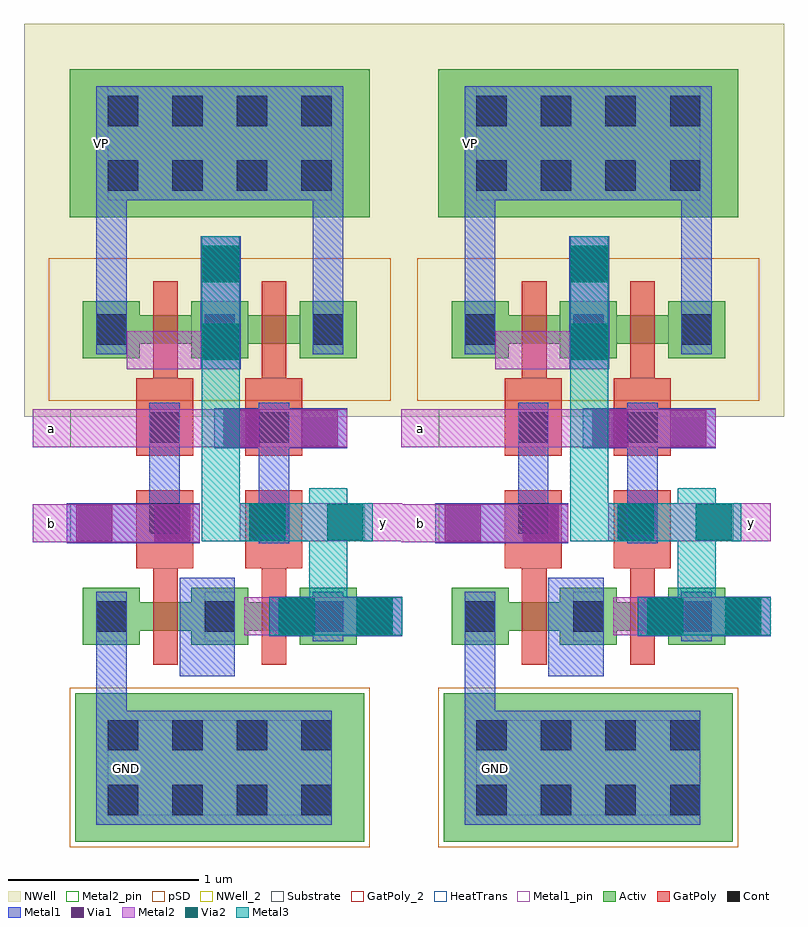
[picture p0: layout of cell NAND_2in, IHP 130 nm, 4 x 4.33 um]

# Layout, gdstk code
from math import pi, radians
import gdstk
lib = gdstk.Library(unit=1e-6, precision=1e-09)
def R(c, l, rs):  # rectangles x0, y0, x1, y1
    for r in rs: c.add(gdstk.rectangle(r[:2], r[2:], *l))
def A(c, l, x, y, w, h, nx, ny, dx, dy):  # array of equal rectangles
    R(c, l, [(x+i*dx, y+j*dy, x+i*dx+w, y+j*dy+h) for i in range(nx) for j in range(ny)])
Activ = (1, 0)
GatPoly = (5, 0)
GatPoly_2 = (5, 2)
Cont = (6, 0)
Metal1 = (8, 0)
Metal1_pin = (8, 2)
Metal2 = (10, 0)
Metal2_pin = (10, 2)
pSD = (14, 0)
Via1 = (19, 0)
Via2 = (29, 0)
Metal3 = (30, 0)
NWell = (31, 0)
NWell_2 = (31, 2)
Substrate = (40, 0)
HeatTrans = (51, 0)

via_4 = lib.new_cell('Via$4')
R(via_4, Metal2, [(-0.1,-0.35,0.1,0.35)])
R(via_4, Via2, [(-0.095,-0.3,0.095,-0.11), (-0.095,0.11,0.095,0.3)])
R(via_4, Metal3, [(-0.1,-0.35,0.1,0.35)])

via_2 = lib.new_cell('Via$2')
R(via_2, Metal1, [(-0.105,-0.35,0.105,0.35)])
R(via_2, Metal2, [(-0.1,-0.35,0.1,0.35)])
R(via_2, Via1, [(-0.095,-0.3,0.095,-0.11), (-0.095,0.11,0.095,0.3)])

via_7 = lib.new_cell('Via$7')
R(via_7, Metal2, [(-0.35,-0.1,0.35,0.1)])
R(via_7, Via2, [(-0.3,-0.095,-0.11,0.095), (0.11,-0.095,0.3,0.095)])
R(via_7, Metal3, [(-0.35,-0.1,0.35,0.1)])

via = lib.new_cell('Via')
R(via, GatPoly, [(-0.15,-0.15,0.15,0.15)])
R(via, Cont, [(-0.08,-0.08,0.08,0.08)])
R(via, Metal1, [(-0.13,-0.08,0.13,0.08)])

pmos = lib.new_cell('pmos')
R(pmos, Activ, [(0,0,0.3,0.3), (0.57,0,0.87,0.3), (0,0.075,0.87,0.225)])
R(pmos, GatPoly, [(0.37,-0.105,0.5,0.405), (0.37,-0.105,0.5,0.405)])
R(pmos, Cont, [(0.07,0.07,0.23,0.23), (0.64,0.07,0.8,0.23)])
R(pmos, Metal1, [(0.07,0.02,0.23,0.28), (0.07,0.02,0.23,0.28), (0.64,0.02,0.8,0.28), (0.64,0.02,0.8,0.28)])
R(pmos, pSD, [(-0.18,-0.225,1.05,0.525)])
R(pmos, NWell, [(-0.31,-0.31,1.18,0.61)])
R(pmos, Substrate, [(0.57,0,0.87,0.3)])
R(pmos, HeatTrans, [(0.37,-0.105,0.5,0.405)])
pmos.add(gdstk.Label('pmos', (0.435,0.15), layer=63, texttype=0))
pmos.add(gdstk.Label('pmos', (0.435,0.15), layer=51, texttype=0))

ptap1 = lib.new_cell('ptap1')
R(ptap1, Activ, [(0,0,1.52,0.78)])
A(ptap1, Cont, 0.17, 0.14, 0.16, 0.16, 4, 2, 0.34, 0.34)
R(ptap1, Metal1, [(0.17,0.09,1.35,0.69), (0.17,0.14,1.35,0.64)])
R(ptap1, Metal1_pin, [(0.17,0.14,1.35,0.64)])
R(ptap1, pSD, [(-0.03,-0.03,1.55,0.81)])
R(ptap1, Substrate, [(0,0,1.52,0.78)])
ptap1.add(gdstk.Label('sub!', (0.76,0.01), layer=63, texttype=0))
ptap1.add(gdstk.Label('sub!', (0.76,0.01), layer=40, texttype=0))

ntap1 = lib.new_cell('ntap1')
R(ntap1, Activ, [(0,0,1.58,0.78)])
A(ntap1, Cont, 0.2, 0.14, 0.16, 0.16, 4, 2, 0.34, 0.34)
R(ntap1, Metal1, [(0.2,0.09,1.38,0.69)])
R(ntap1, Metal1_pin, [(0.2,0.09,1.38,0.69), (0.2,0.14,1.38,0.64)])
R(ntap1, NWell, [(-0.24,-0.24,1.82,1.02), (0,0,1.58,0.78)])
R(ntap1, NWell_2, [(0,0,1.58,0.78)])
ntap1.add(gdstk.Label('well', (0.79,0.01), layer=63, texttype=0))
ntap1.add(gdstk.Label('well', (0.79,0.01), layer=31, texttype=0))

nmos = lib.new_cell('nmos')
R(nmos, Activ, [(0,0,0.3,0.3), (0.57,0,0.87,0.3), (0,0.075,0.87,0.225)])
R(nmos, GatPoly, [(0.37,-0.105,0.5,0.405)])
R(nmos, GatPoly_2, [(0.37,-0.105,0.5,0.405)])
R(nmos, Cont, [(0.07,0.07,0.23,0.23), (0.64,0.07,0.8,0.23)])
R(nmos, Metal1, [(0.07,0.02,0.23,0.28), (0.64,0.02,0.8,0.28)])
R(nmos, Metal1_pin, [(0.07,0.02,0.23,0.28), (0.64,0.02,0.8,0.28)])
R(nmos, HeatTrans, [(0.37,-0.105,0.5,0.405)])
nmos.add(gdstk.Label('nmos', (0.435,0.15), layer=63, texttype=0))
nmos.add(gdstk.Label('nmos', (0.435,0.15), layer=51, texttype=0))

nand_2in = lib.new_cell('NAND_2in')
R(nand_2in, GatPoly, [(6.865,8.395,7.165,8.505), (7.44,8.395,7.74,8.505), (8.805,8.395,9.105,8.505), (9.38,8.395,9.68,8.505), (6.865,9.285,7.165,9.395), (7.44,9.285,7.74,9.395), (8.805,9.285,9.105,9.395), (9.38,9.285,9.68,9.395)])
R(nand_2in, Metal1, [(7.095,7.825,7.385,8.345), (9.035,7.825,9.325,8.345)])
R(nand_2in, Metal1_pin, [(6.715,7.24,6.915,7.44), (8.655,7.24,8.855,7.44), (6.715,10.53,6.915,10.73), (8.655,10.53,8.855,10.73)])
R(nand_2in, Metal2_pin, [(6.32,8.53,6.52,8.73), (8.26,8.53,8.46,8.73), (8.065,8.535,8.265,8.735), (10.005,8.535,10.205,8.735), (6.32,9.03,6.52,9.23), (8.26,9.03,8.46,9.23)])
R(nand_2in, Metal3, [(7.21,8.535,7.41,8.645), (9.15,8.535,9.35,8.645)])
nand_2in.add(gdstk.FlexPath([(6.735,7.645),(6.735,7.045)], 0.16, ends="flush", simple_path=True, layer=8, datatype=0))  # Metal1
nand_2in.add(gdstk.FlexPath([(7.875,10.33),(7.875,10.93)], 0.16, ends="flush", simple_path=True, layer=8, datatype=0))  # Metal1
nand_2in.add(gdstk.FlexPath([(6.735,10.33),(6.735,10.93)], 0.16, ends="flush", simple_path=True, layer=8, datatype=0))  # Metal1
nand_2in.add(gdstk.FlexPath([(7.915,8.14),(7.915,8.14)], 0.16, ends="flush", simple_path=True, layer=8, datatype=0))  # Metal1
nand_2in.add(gdstk.FlexPath([(7.015,8.87),(7.015,8.87)], 0.16, ends="flush", simple_path=True, layer=8, datatype=0))  # Metal1
nand_2in.add(gdstk.FlexPath([(7.59,8.655),(7.59,9.005)], 0.16, ends="flush", simple_path=True, layer=8, datatype=0))  # Metal1
nand_2in.add(gdstk.FlexPath([(7.015,9.005),(7.015,8.785)], 0.16, ends="flush", simple_path=True, layer=8, datatype=0))  # Metal1
nand_2in.add(gdstk.FlexPath([(6.735,9.65),(6.735,10.33)], 0.16, ends="flush", simple_path=True, layer=8, datatype=0))  # Metal1
nand_2in.add(gdstk.FlexPath([(7.875,9.65),(7.875,10.33)], 0.16, ends="flush", simple_path=True, layer=8, datatype=0))  # Metal1
nand_2in.add(gdstk.FlexPath([(6.735,8.01),(6.735,7.645)], 0.16, ends="flush", simple_path=True, layer=8, datatype=0))  # Metal1
nand_2in.add(gdstk.FlexPath([(8.675,7.645),(8.675,7.045)], 0.16, ends="flush", simple_path=True, layer=8, datatype=0))  # Metal1
nand_2in.add(gdstk.FlexPath([(9.815,10.33),(9.815,10.93)], 0.16, ends="flush", simple_path=True, layer=8, datatype=0))  # Metal1
nand_2in.add(gdstk.FlexPath([(8.675,10.33),(8.675,10.93)], 0.16, ends="flush", simple_path=True, layer=8, datatype=0))  # Metal1
nand_2in.add(gdstk.FlexPath([(9.855,8.14),(9.855,8.14)], 0.16, ends="flush", simple_path=True, layer=8, datatype=0))  # Metal1
nand_2in.add(gdstk.FlexPath([(8.955,8.87),(8.955,8.87)], 0.16, ends="flush", simple_path=True, layer=8, datatype=0))  # Metal1
nand_2in.add(gdstk.FlexPath([(9.53,8.655),(9.53,9.005)], 0.16, ends="flush", simple_path=True, layer=8, datatype=0))  # Metal1
nand_2in.add(gdstk.FlexPath([(8.955,9.005),(8.955,8.785)], 0.16, ends="flush", simple_path=True, layer=8, datatype=0))  # Metal1
nand_2in.add(gdstk.FlexPath([(8.675,9.65),(8.675,10.33)], 0.16, ends="flush", simple_path=True, layer=8, datatype=0))  # Metal1
nand_2in.add(gdstk.FlexPath([(9.815,9.65),(9.815,10.33)], 0.16, ends="flush", simple_path=True, layer=8, datatype=0))  # Metal1
nand_2in.add(gdstk.FlexPath([(8.675,8.01),(8.675,7.645)], 0.16, ends="flush", simple_path=True, layer=8, datatype=0))  # Metal1
nand_2in.add(gdstk.FlexPath([(7.02,9.395),(7.02,9.395)], 0.16, ends="flush", simple_path=True, layer=5, datatype=0))  # GatPoly
nand_2in.add(gdstk.FlexPath([(8.96,9.395),(8.96,9.395)], 0.16, ends="flush", simple_path=True, layer=5, datatype=0))  # GatPoly
nand_2in.add(gdstk.FlexPath([(7.975,9.13),(6.32,9.13)], 0.2, ends="flush", simple_path=True, layer=10, datatype=0))  # Metal2
nand_2in.add(gdstk.FlexPath([(7.2,8.63),(6.32,8.63)], 0.2, ends="flush", simple_path=True, layer=10, datatype=0))  # Metal2
nand_2in.add(gdstk.FlexPath([(8.265,8.14),(7.435,8.14)], 0.2, ends="flush", simple_path=True, layer=10, datatype=0))  # Metal2
nand_2in.add(gdstk.FlexPath([(7.915,8.14),(7.915,8.14)], 0.2, ends="flush", simple_path=True, layer=10, datatype=0))  # Metal2
nand_2in.add(gdstk.FlexPath([(7.41,8.635),(8.265,8.635)], 0.2, ends="flush", simple_path=True, layer=10, datatype=0))  # Metal2
nand_2in.add(gdstk.FlexPath([(7.305,9.54),(6.815,9.54)], 0.2, ends="flush", simple_path=True, layer=10, datatype=0))  # Metal2
nand_2in.add(gdstk.FlexPath([(9.915,9.13),(8.26,9.13)], 0.2, ends="flush", simple_path=True, layer=10, datatype=0))  # Metal2
nand_2in.add(gdstk.FlexPath([(9.14,8.63),(8.26,8.63)], 0.2, ends="flush", simple_path=True, layer=10, datatype=0))  # Metal2
nand_2in.add(gdstk.FlexPath([(10.205,8.14),(9.375,8.14)], 0.2, ends="flush", simple_path=True, layer=10, datatype=0))  # Metal2
nand_2in.add(gdstk.FlexPath([(9.855,8.14),(9.855,8.14)], 0.2, ends="flush", simple_path=True, layer=10, datatype=0))  # Metal2
nand_2in.add(gdstk.FlexPath([(9.35,8.635),(10.205,8.635)], 0.2, ends="flush", simple_path=True, layer=10, datatype=0))  # Metal2
nand_2in.add(gdstk.FlexPath([(9.245,9.54),(8.755,9.54)], 0.2, ends="flush", simple_path=True, layer=10, datatype=0))  # Metal2
nand_2in.add(gdstk.FlexPath([(7.875,8.14),(7.875,8.815)], 0.2, ends="flush", simple_path=True, layer=30, datatype=0))  # Metal3
nand_2in.add(gdstk.FlexPath([(7.31,9.59),(7.31,8.645)], 0.2, ends="flush", simple_path=True, layer=30, datatype=0))  # Metal3
nand_2in.add(gdstk.FlexPath([(9.815,8.14),(9.815,8.815)], 0.2, ends="flush", simple_path=True, layer=30, datatype=0))  # Metal3
nand_2in.add(gdstk.FlexPath([(9.25,9.59),(9.25,8.645)], 0.2, ends="flush", simple_path=True, layer=30, datatype=0))  # Metal3
nand_2in.add(gdstk.Reference(via_4, (7.915,8.14), rotation=3*pi/2))
nand_2in.add(gdstk.Reference(via_2, (7.915,8.14), rotation=3*pi/2))
nand_2in.add(gdstk.Reference(via_4, (7.31,9.79), rotation=pi))
nand_2in.add(gdstk.Reference(via_2, (7.31,9.79), rotation=pi))
nand_2in.add(gdstk.Reference(via_7, (7.76,8.635)))
nand_2in.add(gdstk.Reference(via_2, (7.625,9.13), rotation=3*pi/2))
nand_2in.add(gdstk.Reference(via_2, (6.85,8.63), rotation=3*pi/2))
nand_2in.add(gdstk.Reference(via, (7.015,8.655), rotation=3*pi/2))
nand_2in.add(gdstk.Reference(via, (7.59,8.655), rotation=3*pi/2))
nand_2in.add(gdstk.Reference(via, (7.59,9.135), rotation=pi/2))
nand_2in.add(gdstk.Reference(pmos, (7.155,9.5)))
nand_2in.add(gdstk.Reference(via, (7.015,9.135), rotation=pi/2))
nand_2in.add(gdstk.Reference(ptap1, (6.545,6.955)))
nand_2in.add(gdstk.Reference(ntap1, (6.515,10.24)))
nand_2in.add(gdstk.Reference(nmos, (7.155,7.99)))
nand_2in.add(gdstk.Reference(pmos, (6.585,9.5)))
nand_2in.add(gdstk.Reference(nmos, (6.585,7.99)))
nand_2in.add(gdstk.Reference(via_4, (9.855,8.14), rotation=3*pi/2))
nand_2in.add(gdstk.Reference(via_2, (9.855,8.14), rotation=3*pi/2))
nand_2in.add(gdstk.Reference(via_4, (9.25,9.79), rotation=pi))
nand_2in.add(gdstk.Reference(via_2, (9.25,9.79), rotation=pi))
nand_2in.add(gdstk.Reference(via_7, (9.7,8.635)))
nand_2in.add(gdstk.Reference(via_2, (9.565,9.13), rotation=3*pi/2))
nand_2in.add(gdstk.Reference(via_2, (8.79,8.63), rotation=3*pi/2))
nand_2in.add(gdstk.Reference(via, (8.955,8.655), rotation=3*pi/2))
nand_2in.add(gdstk.Reference(via, (9.53,8.655), rotation=3*pi/2))
nand_2in.add(gdstk.Reference(via, (9.53,9.135), rotation=pi/2))
nand_2in.add(gdstk.Reference(pmos, (9.095,9.5)))
nand_2in.add(gdstk.Reference(via, (8.955,9.135), rotation=pi/2))
nand_2in.add(gdstk.Reference(ptap1, (8.485,6.955)))
nand_2in.add(gdstk.Reference(ntap1, (8.455,10.24)))
nand_2in.add(gdstk.Reference(nmos, (9.095,7.99)))
nand_2in.add(gdstk.Reference(pmos, (8.525,9.5)))
nand_2in.add(gdstk.Reference(nmos, (8.525,7.99)))
nand_2in.add(gdstk.Label('y', (8.165,8.635), layer=10, texttype=25))
nand_2in.add(gdstk.Label('b', (6.42,8.63), layer=10, texttype=25))
nand_2in.add(gdstk.Label('a', (6.42,9.13), layer=10, texttype=25))
nand_2in.add(gdstk.Label('y', (10.105,8.635), layer=10, texttype=25))
nand_2in.add(gdstk.Label('b', (8.36,8.63), layer=10, texttype=25))
nand_2in.add(gdstk.Label('a', (8.36,9.13), layer=10, texttype=25))
nand_2in.add(gdstk.Label('VP', (6.685,10.63), layer=8, texttype=25))
nand_2in.add(gdstk.Label('GND', (6.815,7.34), layer=8, texttype=25))
nand_2in.add(gdstk.Label('VP', (8.625,10.63), layer=8, texttype=25))
nand_2in.add(gdstk.Label('GND', (8.755,7.34), layer=8, texttype=25))

lib.write_gds('NAND_2in.gds')
